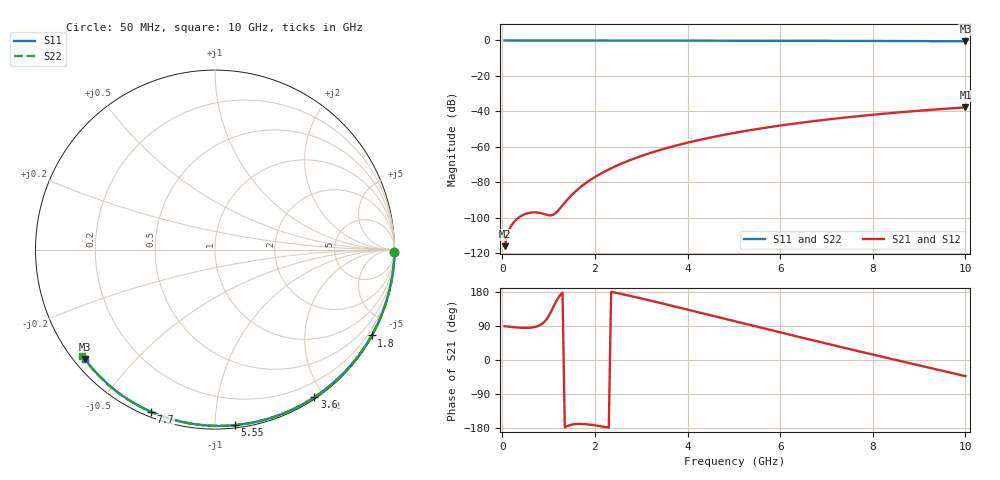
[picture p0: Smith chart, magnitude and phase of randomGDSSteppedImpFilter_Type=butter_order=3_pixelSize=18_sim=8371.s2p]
! freq	dB(S11)	phase(S11)	dB(S12)	phase(S12)
!  dB(S21)	phase(S21)	dB(S22)	phase(S22)
!S-par simulation data
#  GHz  S  DB  R 50
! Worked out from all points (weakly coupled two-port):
!   200 points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, 50 MHz to 10 GHz, reference 50 ohm
!   highest |S21| = -37.75 dB at 10 GHz (marker M1); lowest = -116.0 dB at 50 MHz (marker M2)
!   lowest |S11| = -0.5 dB at 10 GHz (marker M3), VSWR 36.68, Z = 1.54 - j18.2 ohm
!   |S11| at or under -10 dB: nowhere
!   |S22| runs from -0.5 to 0.0 dB; largest |S21 - S12| = 0
!   S11 on the Smith chart (normalised r, x): 50 MHz: open; 1.8 GHz: 0.03, -3.91; 3.6 GHz: 0.02, -1.88; 5.55 GHz: 0.02, -1.12; 7.7 GHz: 0.02, -0.68; 10 GHz: 0.03, -0.36
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0.05  -0.00 -0.8  -116.02 89.2  -116.02 89.2  -0.00 -0.8
0.45  -0.01 -7.3  -98.37 84.7  -98.37 84.7  -0.01 -7.3
0.9  -0.02 -14.5  -97.89 99.9  -97.89 99.9  -0.02 -14.6
1.75  -0.04 -27.9  -81.46 -169.1  -81.46 -169.1  -0.04 -28.1
1.8  -0.04 -28.7  -80.49 -169.5  -80.49 -169.5  -0.04 -28.9
1.85  -0.04 -29.5  -79.57 -170.1  -79.57 -170.1  -0.04 -29.7
2.05  -0.04 -32.6  -76.24 -173.4  -76.24 -173.4  -0.04 -32.8
2.25  -0.05 -35.7  -73.38 -177.7  -73.38 -177.7  -0.05 -36.0
2.55  -0.05 -40.3  -69.70 174.8  -69.70 174.8  -0.05 -40.6
2.95  -0.06 -46.3  -65.63 163.9  -65.63 163.9  -0.06 -46.7
3.4  -0.07 -53.1  -61.83 150.8  -61.83 150.8  -0.07 -53.5
3.6  -0.08 -56.0  -60.34 144.9  -60.34 144.9  -0.08 -56.5
3.9  -0.08 -60.4  -58.29 136.0  -58.29 136.0  -0.08 -60.9
4.3  -0.09 -66.2  -55.84 124.0  -55.84 124.0  -0.09 -66.7
5.05  -0.12 -76.7  -51.96 101.4  -51.96 101.4  -0.12 -77.3
5.55  -0.14 -83.6  -49.76 86.4  -49.76 86.4  -0.14 -84.2
6.1  -0.16 -90.9  -47.62 70.0  -47.62 70.0  -0.16 -91.7
6.7  -0.19 -98.8  -45.57 52.2  -45.57 52.2  -0.19 -99.6
7.7  -0.26 -111.6  -42.67 23.0  -42.67 23.0  -0.26 -112.5
8.35  -0.31 -119.7  -41.06 4.3  -41.06 4.3  -0.31 -120.7
9.2  -0.39 -130.2  -39.23 -19.9  -39.23 -19.9  -0.39 -131.3
10  -0.47 -140.0  -37.75 -42.5  -37.75 -42.5  -0.47 -141.3
